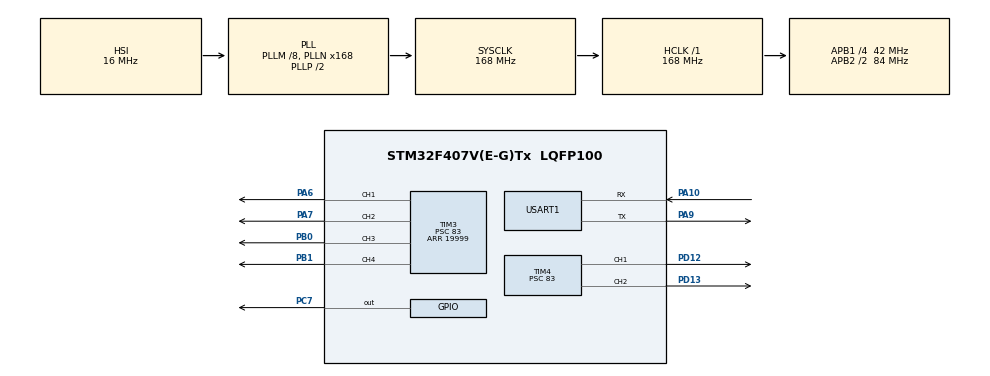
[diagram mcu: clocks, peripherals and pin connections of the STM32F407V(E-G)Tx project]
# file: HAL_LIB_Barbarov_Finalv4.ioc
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Mcu.Family=STM32F4
Mcu.Name=STM32F407V(E-G)Tx
Mcu.Package=LQFP100
NVIC.PriorityGroup=NVIC_PRIORITYGROUP_4
NVIC.USART1_IRQn=true\:0\:0\:false\:false\:true\:true\:true
PA10.Mode=Asynchronous
PA10.Signal=USART1_RX
PA6.Signal=S_TIM3_CH1
PA7.Signal=S_TIM3_CH2
PA9.Mode=Asynchronous
PA9.Signal=USART1_TX
PB0.Signal=S_TIM3_CH3
PB1.Signal=S_TIM3_CH4
PC7.GPIO_Speed=GPIO_SPEED_FREQ_HIGH
PC7.PinState=GPIO_PIN_SET
PC7.Signal=GPIO_Output
PD12.Signal=S_TIM4_CH1
PD13.Signal=S_TIM4_CH2
ProjectManager.HeapSize=0x200
ProjectManager.StackSize=0x400
ProjectManager.TargetToolchain=STM32CubeIDE
RCC.48MHZClocksFreq_Value=84000000
RCC.AHBFreq_Value=168000000
RCC.APB1CLKDivider=RCC_HCLK_DIV4
RCC.APB1Freq_Value=42000000
RCC.APB1TimFreq_Value=84000000
RCC.APB2CLKDivider=RCC_HCLK_DIV2
RCC.APB2Freq_Value=84000000
RCC.APB2TimFreq_Value=168000000
RCC.CortexFreq_Value=168000000
RCC.HCLKFreq_Value=168000000
RCC.HSE_VALUE=25000000
RCC.HSI_VALUE=16000000
RCC.LSE_VALUE=32768
RCC.PLLM=8
RCC.PLLN=168
RCC.SYSCLKFreq_VALUE=168000000
RCC.SYSCLKSource=RCC_SYSCLKSOURCE_PLLCLK
RCC.VCOOutputFreq_Value=336000000
SH.S_TIM3_CH1.0=TIM3_CH1,PWM Generation1 CH1
SH.S_TIM3_CH2.0=TIM3_CH2,PWM Generation2 CH2
SH.S_TIM3_CH3.0=TIM3_CH3,PWM Generation3 CH3
SH.S_TIM3_CH4.0=TIM3_CH4,PWM Generation4 CH4
SH.S_TIM4_CH1.0=TIM4_CH1,PWM Generation1 CH1
SH.S_TIM4_CH2.0=TIM4_CH2,PWM Generation2 CH2
TIM3.Channel-PWM\ Generation1\ CH1=TIM_CHANNEL_1
TIM3.Channel-PWM\ Generation2\ CH2=TIM_CHANNEL_2
TIM3.Channel-PWM\ Generation3\ CH3=TIM_CHANNEL_3
TIM3.Channel-PWM\ Generation4\ CH4=TIM_CHANNEL_4
TIM3.Period=19999
TIM3.Prescaler=83
TIM4.Channel-PWM\ Generation1\ CH1=TIM_CHANNEL_1
TIM4.Channel-PWM\ Generation2\ CH2=TIM_CHANNEL_2
TIM4.Period=19999
TIM4.Prescaler=83
USART1.VirtualMode=VM_ASYNC
board=custom

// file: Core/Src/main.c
/* USER CODE BEGIN Header */
/**
  ******************************************************************************
  * @file           : main.c
  * @brief          : Main program body
  ******************************************************************************
  * @attention
  *
  * Copyright (c) 2022 STMicroelectronics.
  * All rights reserved.
  *
  * This software is licensed under terms that can be found in the LICENSE file
  * in the root directory of this software component.
  * If no LICENSE file comes with this software, it is provided AS-IS.
  *
  ******************************************************************************
  */
/* USER CODE END Header */
#include "main.h"

/* USER CODE BEGIN Includes */
#include "stdlib.h"
#include "string.h"
/* USER CODE END Includes */

TIM_HandleTypeDef htim3;
TIM_HandleTypeDef htim4;

UART_HandleTypeDef huart1;

/* USER CODE BEGIN PV */
char gelen[8];
int degisim,donusum,degisen = 1500;

/* USER CODE END PV */

void SystemClock_Config(void);
static void MX_GPIO_Init(void);
static void MX_TIM3_Init(void);
static void MX_TIM4_Init(void);
static void MX_USART1_UART_Init(void);

/* USER CODE BEGIN 0 */
void degis(){
	degisim = atoi(gelen);
	donusum = 1500;
	HAL_Delay(1000);
}
void dur(){
	degisim = 1500;
	__HAL_TIM_SET_COMPARE(&htim3, TIM_CHANNEL_1, 1500);
	__HAL_TIM_SET_COMPARE(&htim3, TIM_CHANNEL_2, 1500);
	__HAL_TIM_SET_COMPARE(&htim3, TIM_CHANNEL_3, 1500);
	__HAL_TIM_SET_COMPARE(&htim3, TIM_CHANNEL_4, 1500);
	__HAL_TIM_SET_COMPARE(&htim4, TIM_CHANNEL_1, 1500);
	__HAL_TIM_SET_COMPARE(&htim4, TIM_CHANNEL_2, 1500);
}
void ilr(int degisim){
	donusum = atoi(gelen);
	__HAL_TIM_SET_COMPARE(&htim3, TIM_CHANNEL_1, donusum);
	__HAL_TIM_SET_COMPARE(&htim3, TIM_CHANNEL_2, donusum);
	__HAL_TIM_SET_COMPARE(&htim3, TIM_CHANNEL_3, donusum);
	__HAL_TIM_SET_COMPARE(&htim3, TIM_CHANNEL_4, donusum);
	__HAL_TIM_SET_COMPARE(&htim4, TIM_CHANNEL_1, degisim);
	__HAL_TIM_SET_COMPARE(&htim4, TIM_CHANNEL_2, 1500-abs(1500-degisim));
}
void ger(int degisim){
		donusum = atoi(gelen);
		__HAL_TIM_SET_COMPARE(&htim3, TIM_CHANNEL_1, 1500-abs(1500-donusum));
		__HAL_TIM_SET_COMPARE(&htim3, TIM_CHANNEL_2, 1500-abs(1500-donusum));
		__HAL_TIM_SET_COMPARE(&htim3, TIM_CHANNEL_3, 1500-abs(1500-donusum));
		__HAL_TIM_SET_COMPARE(&htim3, TIM_CHANNEL_4, 1500-abs(1500-donusum));
		__HAL_TIM_SET_COMPARE(&htim4, TIM_CHANNEL_1, degisim);
		__HAL_TIM_SET_COMPARE(&htim4, TIM_CHANNEL_2, 1500-abs(1500-degisim));
}
void sag(int degisim){
	donusum = atoi(gelen);
	__HAL_TIM_SET_COMPARE(&htim3, TIM_CHANNEL_1, 1500-abs(1500-donusum));
	__HAL_TIM_SET_COMPARE(&htim3, TIM_CHANNEL_2, donusum);
	__HAL_TIM_SET_COMPARE(&htim3, TIM_CHANNEL_3, donusum);
	__HAL_TIM_SET_COMPARE(&htim3, TIM_CHANNEL_4, 1500-abs(1500-donusum));
	__HAL_TIM_SET_COMPARE(&htim4, TIM_CHANNEL_1, degisim);
	__HAL_TIM_SET_COMPARE(&htim4, TIM_CHANNEL_2, 1500-abs(1500-degisim));
}
void sol(int degisim){
	donusum = atoi(gelen);
	__HAL_TIM_SET_COMPARE(&htim3, TIM_CHANNEL_1, donusum);
	__HAL_TIM_SET_COMPARE(&htim3, TIM_CHANNEL_2, 1500-abs(1500-donusum));
	__HAL_TIM_SET_COMPARE(&htim3, TIM_CHANNEL_3, 1500-abs(1500-donusum));
	__HAL_TIM_SET_COMPARE(&htim3, TIM_CHANNEL_4, donusum);
	__HAL_TIM_SET_COMPARE(&htim4, TIM_CHANNEL_1, degisim);
	__HAL_TIM_SET_COMPARE(&htim4, TIM_CHANNEL_2, 1500-abs(1500-degisim));
}
void asg(){
	donusum = atoi(gelen);
	__HAL_TIM_SET_COMPARE(&htim3, TIM_CHANNEL_1, 1500);
	__HAL_TIM_SET_COMPARE(&htim3, TIM_CHANNEL_2, 1500);
	__HAL_TIM_SET_COMPARE(&htim3, TIM_CHANNEL_3, 1500);
	__HAL_TIM_SET_COMPARE(&htim3, TIM_CHANNEL_4, 1500);
	__HAL_TIM_SET_COMPARE(&htim4, TIM_CHANNEL_1, 1500-abs(1500-donusum));
	__HAL_TIM_SET_COMPARE(&htim4, TIM_CHANNEL_2, donusum);
}
void ykr(){
	donusum = atoi(gelen);
	__HAL_TIM_SET_COMPARE(&htim3, TIM_CHANNEL_1, 1500);
	__HAL_TIM_SET_COMPARE(&htim3, TIM_CHANNEL_2, 1500);
	__HAL_TIM_SET_COMPARE(&htim3, TIM_CHANNEL_3, 1500);
	__HAL_TIM_SET_COMPARE(&htim3, TIM_CHANNEL_4, 1500);
	__HAL_TIM_SET_COMPARE(&htim4, TIM_CHANNEL_1, donusum);
	__HAL_TIM_SET_COMPARE(&htim4, TIM_CHANNEL_2, 1500-abs(1500-donusum));
}
void sld(int degisim){
	donusum = atoi(gelen);
	__HAL_TIM_SET_COMPARE(&htim3, TIM_CHANNEL_1, donusum);
	__HAL_TIM_SET_COMPARE(&htim3, TIM_CHANNEL_2, 1500-abs(1500-donusum));
	__HAL_TIM_SET_COMPARE(&htim3, TIM_CHANNEL_3, donusum);
	__HAL_TIM_SET_COMPARE(&htim3, TIM_CHANNEL_4, 1500-abs(1500-donusum));
	__HAL_TIM_SET_COMPARE(&htim4, TIM_CHANNEL_1, degisim);
	__HAL_TIM_SET_COMPARE(&htim4, TIM_CHANNEL_2, 1500-abs(1500-degisim));
}
void sgd(int degisim){
	donusum = atoi(gelen);
	__HAL_TIM_SET_COMPARE(&htim3, TIM_CHANNEL_1, 1500-abs(1500-donusum));
	__HAL_TIM_SET_COMPARE(&htim3, TIM_CHANNEL_2, donusum);
	__HAL_TIM_SET_COMPARE(&htim3, TIM_CHANNEL_3, 1500-abs(1500-donusum));
	__HAL_TIM_SET_COMPARE(&htim3, TIM_CHANNEL_4, donusum);
	__HAL_TIM_SET_COMPARE(&htim4, TIM_CHANNEL_1, degisim);
	__HAL_TIM_SET_COMPARE(&htim4, TIM_CHANNEL_2, 1500-abs(1500-degisim));
}
/* USER CODE END 0 */

int main(void)
{

  /* MCU Configuration--------------------------------------------------------*/

  /* Reset of all peripherals, Initializes the Flash interface and the Systick. */
  HAL_Init();

  /* Configure the system clock */
  SystemClock_Config();

  /* Initialize all configured peripherals */
  MX_GPIO_Init();
  MX_TIM3_Init();
  MX_TIM4_Init();
  MX_USART1_UART_Init();
  /* USER CODE BEGIN 2 */
  HAL_TIM_PWM_Start(&htim3, TIM_CHANNEL_1);
  HAL_TIM_PWM_Start(&htim3, TIM_CHANNEL_2);
  HAL_TIM_PWM_Start(&htim3, TIM_CHANNEL_3);
  HAL_TIM_PWM_Start(&htim3, TIM_CHANNEL_4);
  HAL_TIM_PWM_Start(&htim4, TIM_CHANNEL_1);
  HAL_TIM_PWM_Start(&htim4, TIM_CHANNEL_2);
  __HAL_TIM_SET_COMPARE(&htim3, TIM_CHANNEL_1, 1500);
  __HAL_TIM_SET_COMPARE(&htim3, TIM_CHANNEL_2, 1500);
  __HAL_TIM_SET_COMPARE(&htim3, TIM_CHANNEL_3, 1500);
  __HAL_TIM_SET_COMPARE(&htim3, TIM_CHANNEL_4, 1500);
  __HAL_TIM_SET_COMPARE(&htim4, TIM_CHANNEL_1, 1500);
  __HAL_TIM_SET_COMPARE(&htim4, TIM_CHANNEL_2, 1500);
  HAL_Delay(7000);
  /* USER CODE END 2 */

  /* Infinite loop */
  while (1)
  {

    /* USER CODE BEGIN 3 */
	  HAL_UART_Receive_IT(&huart1, (uint8_t *)gelen, 8);

	  if(gelen[5]=='d' && gelen[6]=='e' && gelen[7]=='g'){
		  degis();
	  }
	  else if(gelen[5]=='d' && gelen[6]=='u' && gelen[7]=='r'){
		  dur();
	  }
	  else if(gelen[5]=='i' && gelen[6]=='l' && gelen[7]=='r'){
		  ilr(degisim);
	  }
	  else if(gelen[5]=='g' && gelen[6]=='e' && gelen[7]=='r'){
		  ger(degisim);
	  }
	  else if(gelen[5]=='s' && gelen[6]=='a' && gelen[7]=='g'){
		  sag(degisim);
	  }
	  else if(gelen[5]=='s' && gelen[6]=='o' && gelen[7]=='l'){
		  sol(degisim);
	  }
	  else if(gelen[5]=='a' && gelen[6]=='s' && gelen[7]=='g'){
		  asg();
	  }
	  else if(gelen[5]=='y' && gelen[6]=='k' && gelen[7]=='r'){
		  ykr();
	  }
	  else if(gelen[5]=='s' && gelen[6]=='g' && gelen[7]=='d'){
		  sgd(degisim);
	  }
	  else if(gelen[5]=='s' && gelen[6]=='l' && gelen[7]=='d'){
		  sld(degisim);
	  }
  }
  /* USER CODE END 3 */
}

void SystemClock_Config(void)
{
  RCC_OscInitTypeDef RCC_OscInitStruct = {0};
  RCC_ClkInitTypeDef RCC_ClkInitStruct = {0};

  /** Configure the main internal regulator output voltage
  */
  __HAL_RCC_PWR_CLK_ENABLE();
  __HAL_PWR_VOLTAGESCALING_CONFIG(PWR_REGULATOR_VOLTAGE_SCALE1);
  /** Initializes the RCC Oscillators according to the specified parameters
  * in the RCC_OscInitTypeDef structure.
  */
  RCC_OscInitStruct.OscillatorType = RCC_OSCILLATORTYPE_HSI;
  RCC_OscInitStruct.HSIState = RCC_HSI_ON;
  RCC_OscInitStruct.HSICalibrationValue = RCC_HSICALIBRATION_DEFAULT;
  RCC_OscInitStruct.PLL.PLLState = RCC_PLL_ON;
  RCC_OscInitStruct.PLL.PLLSource = RCC_PLLSOURCE_HSI;
  RCC_OscInitStruct.PLL.PLLM = 8;
  RCC_OscInitStruct.PLL.PLLN = 168;
  RCC_OscInitStruct.PLL.PLLP = RCC_PLLP_DIV2;
  RCC_OscInitStruct.PLL.PLLQ = 4;
  if (HAL_RCC_OscConfig(&RCC_OscInitStruct) != HAL_OK)
  {
    Error_Handler();
  }
  /** Initializes the CPU, AHB and APB buses clocks
  */
  RCC_ClkInitStruct.ClockType = RCC_CLOCKTYPE_HCLK|RCC_CLOCKTYPE_SYSCLK
                              |RCC_CLOCKTYPE_PCLK1|RCC_CLOCKTYPE_PCLK2;
  RCC_ClkInitStruct.SYSCLKSource = RCC_SYSCLKSOURCE_PLLCLK;
  RCC_ClkInitStruct.AHBCLKDivider = RCC_SYSCLK_DIV1;
  RCC_ClkInitStruct.APB1CLKDivider = RCC_HCLK_DIV4;
  RCC_ClkInitStruct.APB2CLKDivider = RCC_HCLK_DIV2;

  if (HAL_RCC_ClockConfig(&RCC_ClkInitStruct, FLASH_LATENCY_5) != HAL_OK)
  {
    Error_Handler();
  }
}

static void MX_TIM3_Init(void)
{

  TIM_MasterConfigTypeDef sMasterConfig = {0};
  TIM_OC_InitTypeDef sConfigOC = {0};

  htim3.Instance = TIM3;
  htim3.Init.Prescaler = 83;
  htim3.Init.CounterMode = TIM_COUNTERMODE_UP;
  htim3.Init.Period = 19999;
  htim3.Init.ClockDivision = TIM_CLOCKDIVISION_DIV1;
  htim3.Init.AutoReloadPreload = TIM_AUTORELOAD_PRELOAD_DISABLE;
  if (HAL_TIM_PWM_Init(&htim3) != HAL_OK)
  {
    Error_Handler();
  }
  sMasterConfig.MasterOutputTrigger = TIM_TRGO_RESET;
  sMasterConfig.MasterSlaveMode = TIM_MASTERSLAVEMODE_DISABLE;
  if (HAL_TIMEx_MasterConfigSynchronization(&htim3, &sMasterConfig) != HAL_OK)
  {
    Error_Handler();
  }
  sConfigOC.OCMode = TIM_OCMODE_PWM1;
  sConfigOC.Pulse = 0;
  sConfigOC.OCPolarity = TIM_OCPOLARITY_HIGH;
  sConfigOC.OCFastMode = TIM_OCFAST_DISABLE;
  if (HAL_TIM_PWM_ConfigChannel(&htim3, &sConfigOC, TIM_CHANNEL_1) != HAL_OK)
  {
    Error_Handler();
  }
  if (HAL_TIM_PWM_ConfigChannel(&htim3, &sConfigOC, TIM_CHANNEL_2) != HAL_OK)
  {
    Error_Handler();
  }
  if (HAL_TIM_PWM_ConfigChannel(&htim3, &sConfigOC, TIM_CHANNEL_3) != HAL_OK)
  {
    Error_Handler();
  }
  if (HAL_TIM_PWM_ConfigChannel(&htim3, &sConfigOC, TIM_CHANNEL_4) != HAL_OK)
  {
    Error_Handler();
  }
  HAL_TIM_MspPostInit(&htim3);

}

static void MX_TIM4_Init(void)
{

  TIM_MasterConfigTypeDef sMasterConfig = {0};
  TIM_OC_InitTypeDef sConfigOC = {0};

  htim4.Instance = TIM4;
  htim4.Init.Prescaler = 83;
  htim4.Init.CounterMode = TIM_COUNTERMODE_UP;
  htim4.Init.Period = 19999;
  htim4.Init.ClockDivision = TIM_CLOCKDIVISION_DIV1;
  htim4.Init.AutoReloadPreload = TIM_AUTORELOAD_PRELOAD_DISABLE;
  if (HAL_TIM_PWM_Init(&htim4) != HAL_OK)
  {
    Error_Handler();
  }
  sMasterConfig.MasterOutputTrigger = TIM_TRGO_RESET;
  sMasterConfig.MasterSlaveMode = TIM_MASTERSLAVEMODE_DISABLE;
  if (HAL_TIMEx_MasterConfigSynchronization(&htim4, &sMasterConfig) != HAL_OK)
  {
    Error_Handler();
  }
  sConfigOC.OCMode = TIM_OCMODE_PWM1;
  sConfigOC.Pulse = 0;
  sConfigOC.OCPolarity = TIM_OCPOLARITY_HIGH;
  sConfigOC.OCFastMode = TIM_OCFAST_DISABLE;
  if (HAL_TIM_PWM_ConfigChannel(&htim4, &sConfigOC, TIM_CHANNEL_1) != HAL_OK)
  {
    Error_Handler();
  }
  if (HAL_TIM_PWM_ConfigChannel(&htim4, &sConfigOC, TIM_CHANNEL_2) != HAL_OK)
  {
    Error_Handler();
  }
  HAL_TIM_MspPostInit(&htim4);

}

static void MX_USART1_UART_Init(void)
{

  huart1.Instance = USART1;
  huart1.Init.BaudRate = 115200;
  huart1.Init.WordLength = UART_WORDLENGTH_8B;
  huart1.Init.StopBits = UART_STOPBITS_1;
  huart1.Init.Parity = UART_PARITY_NONE;
  huart1.Init.Mode = UART_MODE_TX_RX;
  huart1.Init.HwFlowCtl = UART_HWCONTROL_NONE;
  huart1.Init.OverSampling = UART_OVERSAMPLING_16;
  if (HAL_UART_Init(&huart1) != HAL_OK)
  {
    Error_Handler();
  }

}

static void MX_GPIO_Init(void)
{
  GPIO_InitTypeDef GPIO_InitStruct = {0};

  /* GPIO Ports Clock Enable */
  __HAL_RCC_GPIOA_CLK_ENABLE();
  __HAL_RCC_GPIOB_CLK_ENABLE();
  __HAL_RCC_GPIOD_CLK_ENABLE();
  __HAL_RCC_GPIOC_CLK_ENABLE();

  /*Configure GPIO pin Output Level */
  HAL_GPIO_WritePin(GPIOC, GPIO_PIN_7, GPIO_PIN_SET);

  /*Configure GPIO pin : PC7 */
  GPIO_InitStruct.Pin = GPIO_PIN_7;
  GPIO_InitStruct.Mode = GPIO_MODE_OUTPUT_PP;
  GPIO_InitStruct.Pull = GPIO_NOPULL;
  GPIO_InitStruct.Speed = GPIO_SPEED_FREQ_HIGH;
  HAL_GPIO_Init(GPIOC, &GPIO_InitStruct);

}

void Error_Handler(void)
{
  __disable_irq();
  while (1)
  {
  }
}
